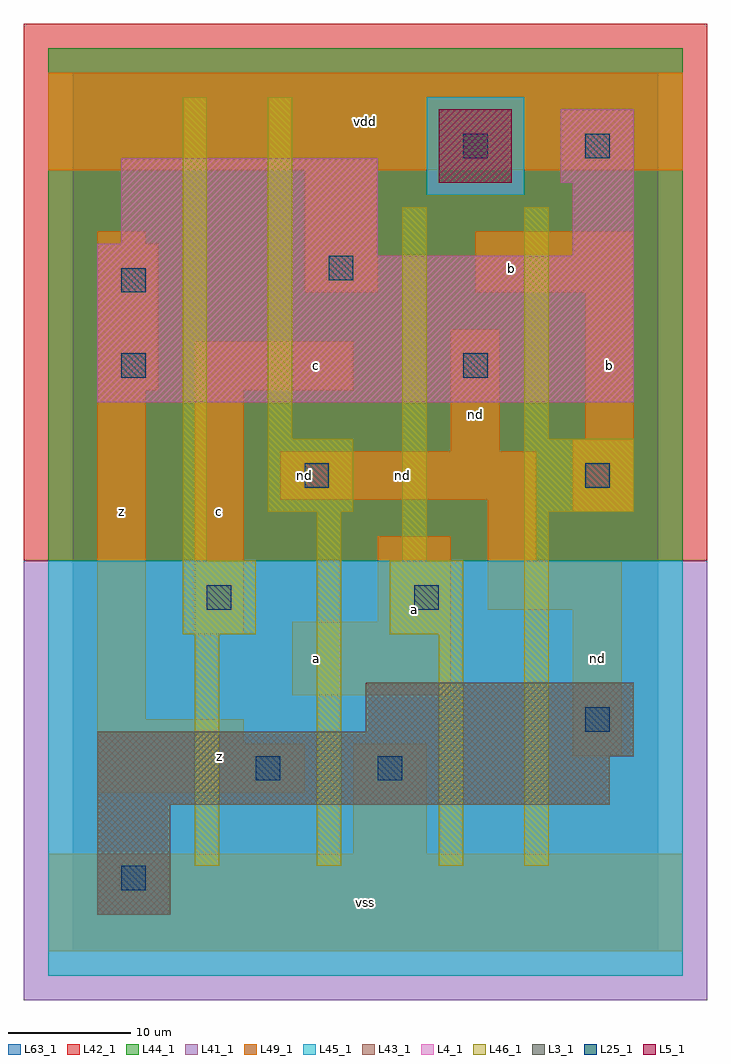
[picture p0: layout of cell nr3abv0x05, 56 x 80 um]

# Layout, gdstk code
import gdstk
lib = gdstk.Library(unit=1e-6, precision=1e-09)
def R(c, l, rs):  # rectangles x0, y0, x1, y1
    for r in rs: c.add(gdstk.rectangle(r[:2], r[2:], *l))
L3_1 = (3, 1)
L4_1 = (4, 1)
L5_1 = (5, 1)
L25_1 = (25, 1)
L41_1 = (41, 1)
L42_1 = (42, 1)
L43_1 = (43, 1)
L44_1 = (44, 1)
L45_1 = (45, 1)
L46_1 = (46, 1)
L49_1 = (49, 1)
L63_1 = (63, 1)

nr3abv0x05 = lib.new_cell('nr3abv0x05')
R(nr3abv0x05, L3_1, [(2,3,8,12), (2,12,44,16), (2,16,46,18), (24,18,46,22)])
R(nr3abv0x05, L4_1, [(2,45,46,57), (2,57,25,58), (41,57,46,63), (4,58,25,65), (40,63,46,69)])
R(nr3abv0x05, L5_1, [(30,63,36,69)])
R(nr3abv0x05, L25_1, [(4,5,6,7), (15,14,17,16), (25,14,27,16), (42,18,44,20), (11,28,13,30), (28,28,30,30), (19,38,21,40), (42,38,44,40), (4,47,6,49), (32,47,34,49), (4,54,6,56), (21,55,23,57), (32,65,34,67), (42,65,44,67)])
R(nr3abv0x05, L41_1, [(-4,-4,52,32)])
R(nr3abv0x05, L42_1, [(-4,32,52,76)])
R(nr3abv0x05, L43_1, [(2,3,8,12), (2,12,44,16), (2,16,46,18), (24,18,46,22), (2,45,46,57), (2,57,25,58), (41,57,46,63), (4,58,25,65), (30,63,36,69), (40,63,46,69)])
R(nr3abv0x05, L44_1, [(-2,32,50,62), (-2,62,29,70), (37,62,50,70), (-2,70,50,74)])
R(nr3abv0x05, L45_1, [(-2,-2,50,32), (29,62,37,70)])
R(nr3abv0x05, L46_1, [(10,7,12,26), (20,7,22,36), (30,7,32,26), (37,7,39,36), (9,26,15,32), (26,26,32,32), (9,32,11,70), (27,32,29,61), (16,36,23,42), (37,36,46,42), (16,42,18,70), (37,42,39,61)])
R(nr3abv0x05, L49_1, [(-2,0,50,8), (23,8,29,17), (2,13,19,17), (41,16,45,28), (2,17,14,19), (2,19,6,46), (18,21,31,27), (10,26,14,46), (25,27,31,34), (34,28,45,32), (34,32,38,37), (41,36,46,42), (17,37,38,41), (31,41,35,51), (42,42,46,54), (2,46,7,58), (10,46,23,50), (19,54,25,64), (33,54,46,59), (2,58,6,59), (-2,64,50,72)])
R(nr3abv0x05, L63_1, [(0,0,48,72)])
nr3abv0x05.add(gdstk.Label('nd', (19,39), layer=49, texttype=1))
nr3abv0x05.add(gdstk.Label('z', (4,36), layer=49, texttype=1))
nr3abv0x05.add(gdstk.Label('z', (12,16), layer=49, texttype=1))
nr3abv0x05.add(gdstk.Label('a', (20,24), layer=49, texttype=1))
nr3abv0x05.add(gdstk.Label('c', (12,36), layer=49, texttype=1))
nr3abv0x05.add(gdstk.Label('c', (20,48), layer=49, texttype=1))
nr3abv0x05.add(gdstk.Label('vss', (24,4), layer=49, texttype=1))
nr3abv0x05.add(gdstk.Label('a', (28,28), layer=49, texttype=1))
nr3abv0x05.add(gdstk.Label('nd', (33,44), layer=49, texttype=1))
nr3abv0x05.add(gdstk.Label('vdd', (24,68), layer=49, texttype=1))
nr3abv0x05.add(gdstk.Label('nd', (43,24), layer=49, texttype=1))
nr3abv0x05.add(gdstk.Label('nd', (27,39), layer=49, texttype=1))
nr3abv0x05.add(gdstk.Label('b', (44,48), layer=49, texttype=1))
nr3abv0x05.add(gdstk.Label('b', (36,56), layer=49, texttype=1))

lib.write_gds('nr3abv0x05.gds')
